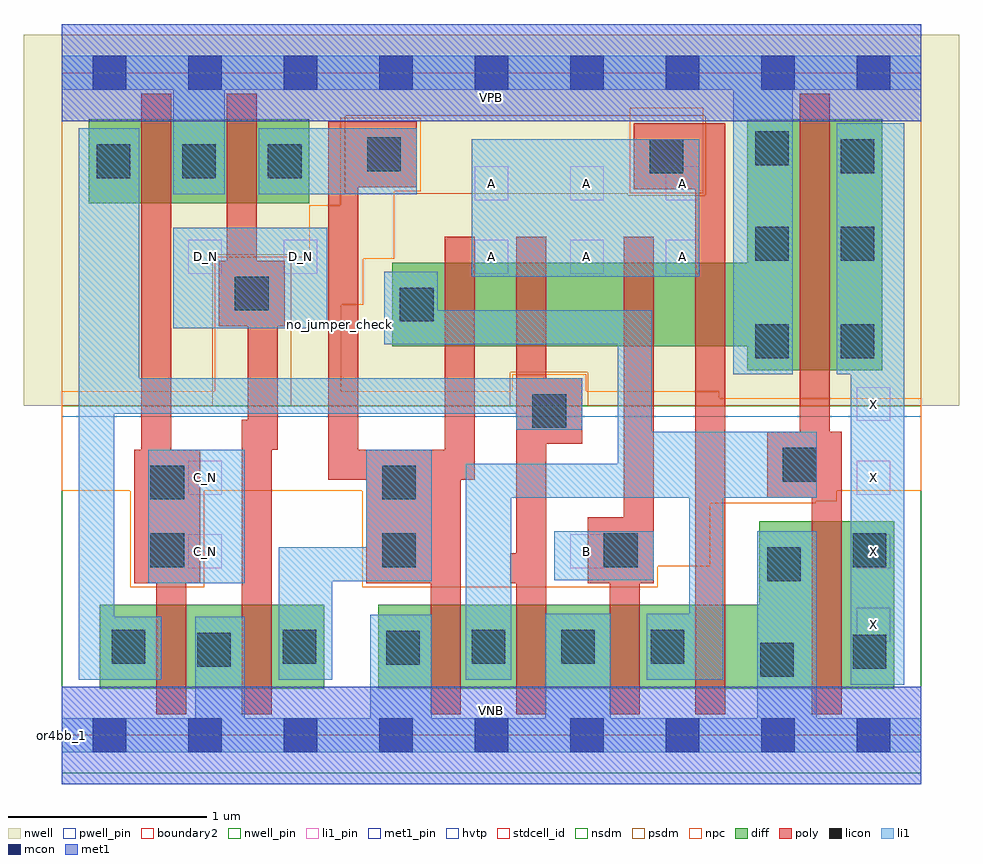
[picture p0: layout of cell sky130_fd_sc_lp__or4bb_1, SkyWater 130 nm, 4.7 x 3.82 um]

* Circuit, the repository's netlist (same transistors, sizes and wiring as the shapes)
* Copyright 2020 The SkyWater PDK Authors
*
* Licensed under the Apache License, Version 2.0 (the "License");
* you may not use this file except in compliance with the License.
* You may obtain a copy of the License at
*
*     https://www.apache.org/licenses/LICENSE-2.0
*
* Unless required by applicable law or agreed to in writing, software
* distributed under the License is distributed on an "AS IS" BASIS,
* WITHOUT WARRANTIES OR CONDITIONS OF ANY KIND, either express or implied.
* See the License for the specific language governing permissions and
* limitations under the License.
*
* SPDX-License-Identifier: Apache-2.0

.SUBCKT sky130_fd_sc_lp__or4bb_1 A B C_N D_N VGND VNB VPB VPWR X
*.PININFO A:I B:I C_N:I D_N:I VGND:I VNB:I VPB:I VPWR:I X:O
MMP0 VPWR A sndPA VPB sky130_fd_pr__pfet_01v8_hvt m=1 w=0.42U l=0.15U mult=1 sa=0.265
+ sb=0.265 sd=0.28 area=0.063 perim=1.14
MMP1 sndPA B sndPB VPB sky130_fd_pr__pfet_01v8_hvt m=1 w=0.42U l=0.15U mult=1 sa=0.265
+ sb=0.265 sd=0.28 area=0.063 perim=1.14
MMP2 sndPB C sndPC VPB sky130_fd_pr__pfet_01v8_hvt m=1 w=0.42U l=0.15U mult=1 sa=0.265
+ sb=0.265 sd=0.28 area=0.063 perim=1.14
MMP3 sndPC D y VPB sky130_fd_pr__pfet_01v8_hvt m=1 w=0.42U l=0.15U mult=1 sa=0.265
+ sb=0.265 sd=0.28 area=0.063 perim=1.14
MMIP2 C C_N VPWR VPB sky130_fd_pr__pfet_01v8_hvt m=1 w=0.42U l=0.15U mult=1 sa=0.265
+ sb=0.265 sd=0.28 area=0.063 perim=1.14
MMIP3 D D_N VPWR VPB sky130_fd_pr__pfet_01v8_hvt m=1 w=0.42U l=0.15U mult=1 sa=0.265
+ sb=0.265 sd=0.28 area=0.063 perim=1.14
MMIP4 X y VPWR VPB sky130_fd_pr__pfet_01v8_hvt m=1 w=1.26U l=0.15U mult=1 sa=0.265
+ sb=0.265 sd=0.28 area=0.063 perim=1.14
MMN0 y A VGND VNB sky130_fd_pr__nfet_01v8 m=1 w=0.42U l=0.15U mult=1 sa=0.265 sb=0.265
+ sd=0.28 area=0.063 perim=1.14
MMN1 y B VGND VNB sky130_fd_pr__nfet_01v8 m=1 w=0.42U l=0.15U mult=1 sa=0.265 sb=0.265
+ sd=0.28 area=0.063 perim=1.14
MMN2 y C VGND VNB sky130_fd_pr__nfet_01v8 m=1 w=0.42U l=0.15U mult=1 sa=0.265 sb=0.265
+ sd=0.28 area=0.063 perim=1.14
MMN3 y D VGND VNB sky130_fd_pr__nfet_01v8 m=1 w=0.42U l=0.15U mult=1 sa=0.265 sb=0.265
+ sd=0.28 area=0.063 perim=1.14
MMIN2 C C_N VGND VNB sky130_fd_pr__nfet_01v8 m=1 w=0.42U l=0.15U mult=1 sa=0.265
+ sb=0.265 sd=0.28 area=0.063 perim=1.14
MMIN3 D D_N VGND VNB sky130_fd_pr__nfet_01v8 m=1 w=0.42U l=0.15U mult=1 sa=0.265
+ sb=0.265 sd=0.28 area=0.063 perim=1.14
MMIN4 X y VGND VNB sky130_fd_pr__nfet_01v8 m=1 w=0.84U l=0.15U mult=1 sa=0.265
+ sb=0.265 sd=0.28 area=0.063 perim=1.14
.ENDS sky130_fd_sc_lp__or4bb_1

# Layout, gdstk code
import gdstk
lib = gdstk.Library(unit=1e-6, precision=1e-09)
def R(c, l, rs):  # rectangles x0, y0, x1, y1
    for r in rs: c.add(gdstk.rectangle(r[:2], r[2:], *l))
def A(c, l, x, y, w, h, nx, ny, dx, dy):  # array of equal rectangles
    R(c, l, [(x+i*dx, y+j*dy, x+i*dx+w, y+j*dy+h) for i in range(nx) for j in range(ny)])
def P(c, l, *ps):  # polygons
    for p in ps: c.add(gdstk.Polygon(p, *l))
nwell_pin = (64, 16)
nwell = (64, 20)
diff = (65, 20)
poly = (66, 20)
licon = (66, 44)
li1_pin = (67, 16)
li1 = (67, 20)
mcon = (67, 44)
met1_pin = (68, 16)
met1 = (68, 20)
hvtp = (78, 44)
stdcell_id = (81, 4)
nsdm = (93, 44)
psdm = (94, 20)
npc = (95, 20)
pwell_pin = (122, 16)
boundary2 = (236, 0)

sky130_fd_sc_lp__or4bb_1 = lib.new_cell('sky130_fd_sc_lp__or4bb_1')
R(sky130_fd_sc_lp__or4bb_1, nwell_pin, [(0,3.085,4.32,3.33)])
R(sky130_fd_sc_lp__or4bb_1, nwell, [(-0.19,1.655,4.51,3.52)])
R(sky130_fd_sc_lp__or4bb_1, diff, [(0.19,0.235,1.32,0.655), (0.135,2.675,1.245,3.095)])
P(sky130_fd_sc_lp__or4bb_1, diff, [(4.125,3.095),(3.445,3.095),(3.445,2.375),(1.66,2.375),(1.66,1.955),(3.445,1.955),(3.445,1.835),(4.125,1.835)],
  [(4.185,1.075),(3.505,1.075),(3.505,0.655),(1.59,0.655),(1.59,0.235),(4.185,0.235)])
P(sky130_fd_sc_lp__or4bb_1, poly, [(2.975,2.505),(2.825,2.505),(2.825,1.095),(2.645,1.095),(2.645,0.765),(2.755,0.765),(2.755,0.105),(2.905,0.105),(2.905,0.765),(2.975,0.765)],
  [(0.695,1.435),(0.55,1.435),(0.55,3.225),(0.4,3.225),(0.4,1.435),(0.365,1.435),(0.365,0.765),(0.475,0.765),(0.475,0.105),(0.625,0.105),(0.625,0.765),(0.695,0.765)],
  [(1.12,2.385),(0.98,2.385),(0.98,3.225),(0.83,3.225),(0.83,2.385),(0.79,2.385),(0.79,2.055),(0.935,2.055),(0.935,1.585),(0.905,1.585),(0.905,0.105),(1.055,0.105),(1.055,1.435),(1.085,1.435),(1.085,2.055),(1.12,2.055)],
  [(2.075,2.505),(1.925,2.505),(1.925,1.435),(1.49,1.435),(1.49,2.755),(1.785,2.755),(1.785,3.085),(1.34,3.085),(1.34,1.285),(1.53,1.285),(1.53,0.765),(1.855,0.765),(1.855,0.105),(2.005,0.105),(2.005,1.285),(2.075,1.285)],
  [(3.335,3.075),(2.875,3.075),(2.875,2.745),(3.185,2.745),(3.185,0.105),(3.335,0.105)],
  [(3.92,1.525),(3.86,1.525),(3.86,3.225),(3.71,3.225),(3.71,1.525),(3.545,1.525),(3.545,1.195),(3.77,1.195),(3.77,0.105),(3.92,0.105)],
  [(2.615,1.795),(2.435,1.795),(2.435,2.505),(2.285,2.505),(2.285,0.915),(2.255,0.915),(2.255,0.765),(2.285,0.765),(2.285,0.105),(2.435,0.105),(2.435,1.465),(2.615,1.465)])
A(sky130_fd_sc_lp__or4bb_1, licon, 2.06, 0.36, 0.17, 0.17, 3, 1, 0.45, 0)
A(sky130_fd_sc_lp__or4bb_1, licon, 0.175, 2.8, 0.17, 0.17, 3, 1, 0.43, 0)
R(sky130_fd_sc_lp__or4bb_1, licon, [(3.51,0.295,3.68,0.465), (3.975,0.335,4.145,0.505), (0.68,0.345,0.85,0.515), (1.63,0.355,1.8,0.525), (0.25,0.36,0.42,0.53), (1.11,0.36,1.28,0.53), (3.545,0.775,3.715,0.945), (0.445,0.845,0.615,1.015), (1.61,0.845,1.78,1.015), (2.725,0.845,2.895,1.015), (3.975,0.845,4.145,1.015), (0.445,1.185,0.615,1.355), (1.61,1.185,1.78,1.355), (3.625,1.275,3.795,1.445), (2.365,1.545,2.535,1.715), (3.485,1.895,3.655,2.065), (3.915,1.895,4.085,2.065), (1.7,2.08,1.87,2.25), (0.87,2.135,1.04,2.305), (3.485,2.385,3.655,2.555), (3.915,2.385,4.085,2.555), (2.955,2.825,3.125,2.995), (3.915,2.825,4.085,2.995), (1.535,2.835,1.705,3.005), (3.485,2.865,3.655,3.035)])
A(sky130_fd_sc_lp__or4bb_1, li1_pin, 3.995, 0.47, 0.17, 0.17, 1, 4, 0, 0.37)
A(sky130_fd_sc_lp__or4bb_1, li1_pin, 2.075, 2.32, 0.17, 0.17, 3, 2, 0.48, 0.37)
R(sky130_fd_sc_lp__or4bb_1, li1_pin, [(0.635,0.84,0.805,1.01), (2.555,0.84,2.725,1.01), (0.635,1.21,0.805,1.38), (0.635,2.32,0.805,2.49), (1.115,2.32,1.285,2.49)])
R(sky130_fd_sc_lp__or4bb_1, li1, [(0.435,0.765,0.92,1.435), (2.475,0.78,2.975,1.025), (0.56,2.045,1.335,2.55), (2.06,2.305,3.205,2.995), (0.99,2.72,1.785,3.05)])
P(sky130_fd_sc_lp__or4bb_1, li1, [(2.615,1.795),(0.39,1.795),(0.39,3.05),(0.085,3.05),(0.085,0.28),(0.5,0.28),(0.5,0.595),(0.265,0.595),(0.265,1.615),(2.285,1.615),(2.285,1.535),(2.615,1.535)],
  [(4.32,3.415),(0,3.415),(0,3.245),(0.56,3.245),(0.56,2.72),(0.82,2.72),(0.82,3.245),(3.375,3.245),(3.375,1.815),(3.675,1.815),(3.675,3.245),(4.32,3.245)],
  [(3.795,1.525),(2.965,1.525),(2.965,2.135),(1.89,2.135),(1.89,2.33),(1.62,2.33),(1.62,1.965),(2.795,1.965),(2.795,1.365),(2.03,1.365),(2.03,0.28),(2.26,0.28),(2.26,1.195),(3.155,1.195),(3.155,0.61),(2.94,0.61),(2.94,0.28),(3.325,0.28),(3.325,1.195),(3.795,1.195)],
  [(4.32,0.085),(3.795,0.085),(3.795,1.025),(3.495,1.025),(3.495,0.085),(2.76,0.085),(2.76,0.61),(2.43,0.61),(2.43,0.085),(1.86,0.085),(1.86,0.605),(1.55,0.605),(1.55,0.085),(0.92,0.085),(0.92,0.595),(0.67,0.595),(0.67,0.085),(0,0.085),(0,-0.085),(4.32,-0.085)],
  [(4.235,3.075),(3.895,3.075),(3.895,1.815),(3.965,1.815),(3.965,0.255),(4.235,0.255)],
  [(1.86,1.435),(1.53,1.435),(1.53,0.945),(1.09,0.945),(1.09,0.28),(1.36,0.28),(1.36,0.775),(1.86,0.775)])
A(sky130_fd_sc_lp__or4bb_1, mcon, 0.155, -0.085, 0.17, 0.17, 9, 2, 0.48, 3.33)
R(sky130_fd_sc_lp__or4bb_1, met1_pin, [(0,0,4.32,0.245), (0,3.085,4.32,3.33)])
R(sky130_fd_sc_lp__or4bb_1, met1, [(0,-0.245,4.32,0.245), (0,3.085,4.32,3.575)])
R(sky130_fd_sc_lp__or4bb_1, hvtp, [(0,1.6,4.32,3.33)])
R(sky130_fd_sc_lp__or4bb_1, stdcell_id, [(0,0,4.32,3.33)])
R(sky130_fd_sc_lp__or4bb_1, nsdm, [(0,-0.19,4.32,1.655)])
P(sky130_fd_sc_lp__or4bb_1, psdm, [(4.32,3.52),(3.235,3.52),(3.235,2.715),(2.845,2.715),(2.845,2.725),(1.425,2.725),(1.425,3.115),(3.235,3.115),(3.235,3.52),(0,3.52),(0,1.655),(0.76,1.655),(0.76,2.415),(1.15,2.415),(1.15,1.655),(2.255,1.655),(2.255,1.825),(2.645,1.825),(2.645,1.655),(4.32,1.655)])
R(sky130_fd_sc_lp__or4bb_1, npc, [(2.855,2.725,3.225,3.155)])
P(sky130_fd_sc_lp__or4bb_1, npc, [(4.32,1.695),(3.305,1.695),(3.305,1.73),(2.635,1.73),(2.635,1.815),(2.265,1.815),(2.265,1.73),(1.405,1.73),(1.405,2.165),(1.515,2.165),(1.515,2.395),(1.67,2.395),(1.67,2.735),(1.805,2.735),(1.805,3.105),(1.4,3.105),(1.4,2.665),(1.245,2.665),(1.245,2.405),(0.77,2.405),(0.77,1.73),(0,1.73),(0,1.23),(0.345,1.23),(0.345,0.745),(0.715,0.745),(0.715,1.23),(1.51,1.23),(1.51,0.745),(2.995,0.745),(2.995,0.85),(3.26,0.85),(3.26,1.165),(3.79,1.165),(3.79,1.175),(3.895,1.175),(3.895,1.23),(4.32,1.23)])
R(sky130_fd_sc_lp__or4bb_1, pwell_pin, [(0,0,4.32,0.245)])
R(sky130_fd_sc_lp__or4bb_1, boundary2, [(0,0,4.32,3.33)])
sky130_fd_sc_lp__or4bb_1.add(gdstk.Label('VNB', (2.16,0.123), layer=64, texttype=59))
sky130_fd_sc_lp__or4bb_1.add(gdstk.Label('VPB', (2.16,3.208), layer=64, texttype=5))
sky130_fd_sc_lp__or4bb_1.add(gdstk.Label('or4bb_1', (0,0), layer=83, texttype=44))
sky130_fd_sc_lp__or4bb_1.add(gdstk.Label('no_jumper_check', (1.395,2.065), layer=83, texttype=44))
sky130_fd_sc_lp__or4bb_1.add(gdstk.Label('VPWR', (2.16,3.208), layer=68, texttype=5))
sky130_fd_sc_lp__or4bb_1.add(gdstk.Label('VGND', (2.16,0.123), layer=68, texttype=5))
sky130_fd_sc_lp__or4bb_1.add(gdstk.Label('B', (2.64,0.925), layer=67, texttype=5))
sky130_fd_sc_lp__or4bb_1.add(gdstk.Label('C_N', (0.72,0.925), layer=67, texttype=5))
sky130_fd_sc_lp__or4bb_1.add(gdstk.Label('C_N', (0.72,1.295), layer=67, texttype=5))
sky130_fd_sc_lp__or4bb_1.add(gdstk.Label('D_N', (0.72,2.405), layer=67, texttype=5))
sky130_fd_sc_lp__or4bb_1.add(gdstk.Label('D_N', (1.2,2.405), layer=67, texttype=5))
sky130_fd_sc_lp__or4bb_1.add(gdstk.Label('X', (4.08,0.555), layer=67, texttype=5))
sky130_fd_sc_lp__or4bb_1.add(gdstk.Label('X', (4.08,0.925), layer=67, texttype=5))
sky130_fd_sc_lp__or4bb_1.add(gdstk.Label('X', (4.08,1.295), layer=67, texttype=5))
sky130_fd_sc_lp__or4bb_1.add(gdstk.Label('X', (4.08,1.665), layer=67, texttype=5))
sky130_fd_sc_lp__or4bb_1.add(gdstk.Label('A', (2.16,2.405), layer=67, texttype=5))
sky130_fd_sc_lp__or4bb_1.add(gdstk.Label('A', (2.16,2.775), layer=67, texttype=5))
sky130_fd_sc_lp__or4bb_1.add(gdstk.Label('A', (2.64,2.405), layer=67, texttype=5))
sky130_fd_sc_lp__or4bb_1.add(gdstk.Label('A', (2.64,2.775), layer=67, texttype=5))
sky130_fd_sc_lp__or4bb_1.add(gdstk.Label('A', (3.12,2.405), layer=67, texttype=5))
sky130_fd_sc_lp__or4bb_1.add(gdstk.Label('A', (3.12,2.775), layer=67, texttype=5))

lib.write_gds('sky130_fd_sc_lp__or4bb_1.gds')
